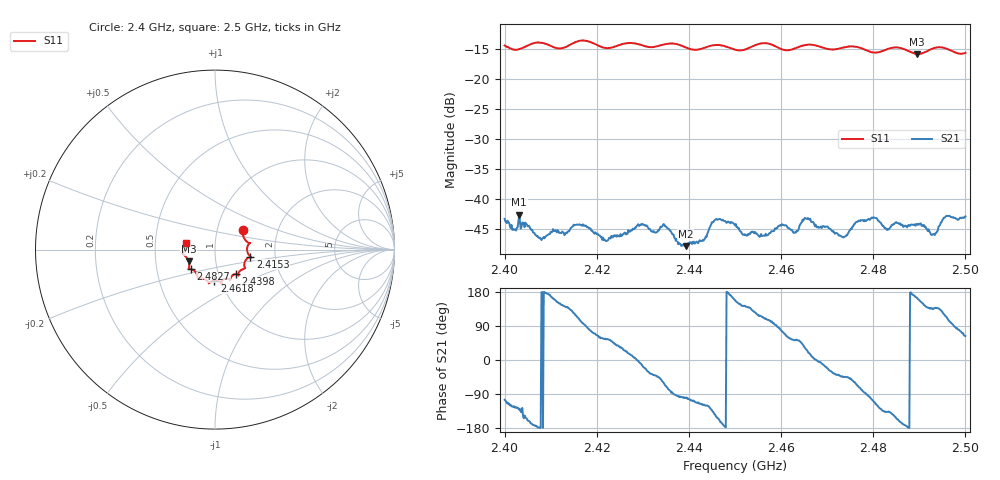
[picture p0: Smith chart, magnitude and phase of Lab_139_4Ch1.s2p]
# Hz S RI R 50
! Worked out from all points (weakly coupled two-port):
!   601 points, 2.4 GHz to 2.5 GHz, reference 50 ohm
!   highest |S21| = -42.58 dB at 2.4032 GHz (marker M1); lowest = -47.8 dB at 2.4393 GHz (marker M2)
!   lowest |S11| = -15.9 dB at 2.4895 GHz (marker M3), VSWR 1.38, Z = 37 - j5 ohm
!   |S11| at or under -10 dB: start of sweep to end of sweep
!   S12 and S22 are empty: the file has one direction only
!   S11 on the Smith chart (normalised r, x): 2.4 GHz: 1.33, +0.29; 2.4153 GHz: 1.48, -0.12; 2.4398 GHz: 1.21, -0.34; 2.4618 GHz: 0.94, -0.33; 2.4827 GHz: 0.75, -0.17; 2.5 GHz: 0.72, +0.06
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2.4e9  0.1551 0.1069  -0.00178 -0.00665  0 0  0 0
2.403167e9  0.1664 0.057  -0.00488 -0.0056  0 0  0 0
2.407833e9  0.1955 0.0375  -0.00467 -9.75e-05  0 0  0 0
2.415333e9  0.1967 -0.039  -0.00295 0.00537  0 0  0 0
2.416667e9  0.2027 -0.0433  -0.00108 0.00601  0 0  0 0
2.422e9  0.1673 -0.0645  0.00262 0.00366  0 0  0 0
2.433333e9  0.1299 -0.1341  0.00389 -0.00394  0 0  0 0
2.439333e9  0.1196 -0.1365  -0.00073 -0.00402  0 0  0 0
2.439833e9  0.1151 -0.136  -0.000879 -0.00424  0 0  0 0
2.446e9  0.0839 -0.1709  -0.006 -0.00338  0 0  0 0
2.45e9  0.0644 -0.1618  -0.00564 0.00228  0 0  0 0
2.452167e9  0.0429 -0.1691  -0.00401 0.00306  0 0  0 0
2.461833e9  -0.00315 -0.1727  0.00314 0.00478  0 0  0 0
2.466667e9  -0.0347 -0.1881  0.00639 0.00103  0 0  0 0
2.4735e9  -0.085 -0.1601  0.0034 -0.00341  0 0  0 0
2.48e9  -0.11 -0.1229  -0.0022 -0.00675  0 0  0 0
2.482667e9  -0.135 -0.1087  -0.00425 -0.00392  0 0  0 0
2.483333e9  -0.1402 -0.1084  -0.00404 -0.0039  0 0  0 0
2.4895e9  -0.1462 -0.0659  -0.00601 0.00169  0 0  0 0
2.493e9  -0.1763 -0.0265  -0.00359 0.00369  0 0  0 0
2.495833e9  -0.177 -0.0158  -0.00301 0.00663  0 0  0 0
2.5e9  -0.1591 0.0389  0.00328 0.00643  0 0  0 0
